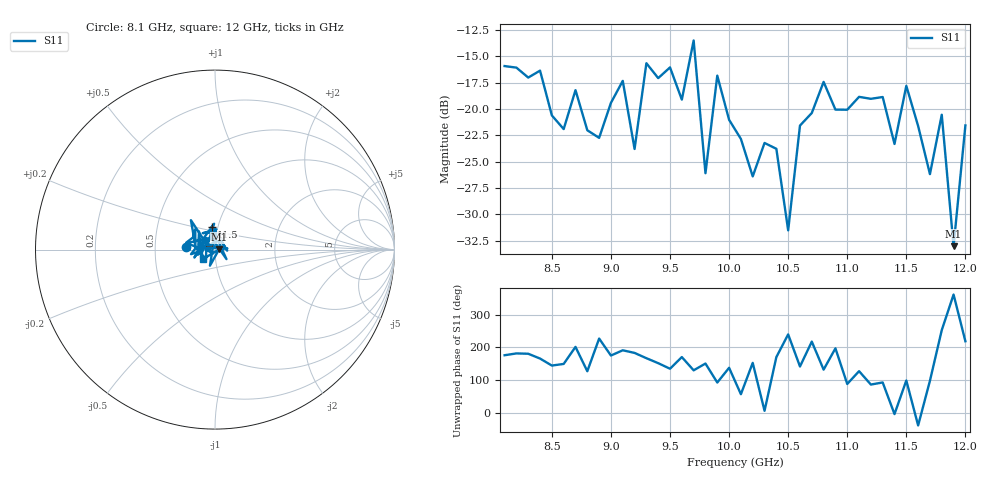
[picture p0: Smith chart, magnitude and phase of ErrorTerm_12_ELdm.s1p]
!  1-Port S-parameters saved by WinCal
! VAR NAME=2-Port SOLT labuser 6
! VAR Error Term Name=ELdm phys rcv port 1 phys src port 2
# Hz S RI R 50
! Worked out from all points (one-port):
!   40 points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, 8.1 GHz to 12 GHz, reference 50 ohm
!   lowest |S11| = -33.0 dB at 11.9 GHz (marker M1), VSWR 1.05, Z = 52.3 + j0.0693 ohm
!   |S11| at or under -10 dB: start of sweep to end of sweep
!   S11 on the Smith chart (normalised r, x): 8.1 GHz: 0.72, +0.02; 11.5 GHz: 0.93, +0.24; 12 GHz: 0.87, -0.09
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8.1e9  -0.1596 0.0122
8.4e9  -0.1474 0.0383
8.6e9  -0.0688 0.0414
8.7e9  -0.1147 -0.0444
8.9e9  -0.05 -0.0531
9.1e9  -0.1337 -0.0256
9.2e9  -0.0646 -0.00308
9.3e9  -0.1606 0.0385
9.6e9  -0.1092 0.0193
9.7e9  -0.1342 0.1639
9.8e9  -0.043 0.0247
9.9e9  -0.00492 0.1441
1.01e10  0.0402 0.0599
1.02e10  -0.0423 0.0223
1.04e10  -0.0637 0.0113
1.05e10  -0.0135 -0.0229
1.06e10  -0.065 0.0524
1.07e10  -0.0761 -0.0582
1.08e10  -0.0891 0.1009
1.11e10  -0.0685 0.0915
1.13e10  -0.00423 0.114
1.14e10  0.068 -0.00579
1.15e10  -0.0183 0.1276
1.16e10  0.0639 -0.053
1.17e10  -0.00631 0.0487
1.18e10  -0.0281 -0.0897
1.19e10  0.0223 0.000662
1.2e10  -0.0655 -0.052
